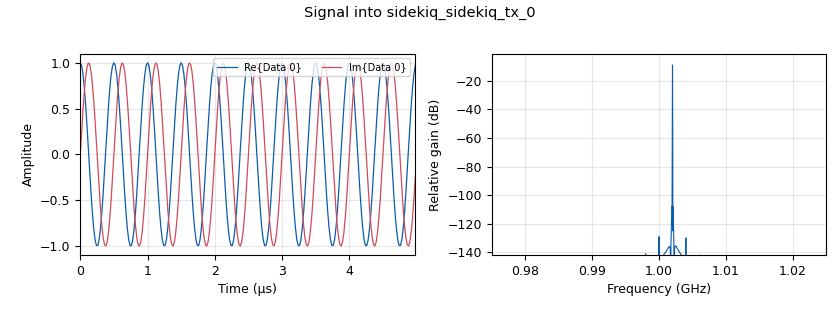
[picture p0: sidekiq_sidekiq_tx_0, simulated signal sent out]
options:
  parameters:
    generate_options: qt_gui
    id: transceive2
    output_language: python
    title: Transceive2
  states: {}

blocks:
- name: card
  id: variable
  parameters:
    value: '3'
  states: {}
- name: frequency
  id: variable
  parameters:
    value: 1000e6
  states: {}
- name: min_output_buffer
  id: variable
  parameters:
    value: 32764 *2*2
  states: {}
- name: sample_rate
  id: variable
  parameters:
    value: 50e6
  states: {}
- name: tone_freq
  id: variable_qtgui_range
  parameters:
    start: 1e6
    step: 1e6
    stop: 25e6
    value: 2e6
  states: {}
- name: analog_sig_source_x_0
  id: analog_sig_source_x
  parameters:
    amp: '1'
    freq: tone_freq
    minoutbuf: min_output_buffer
    offset: '0'
    phase: '0'
    samp_rate: sample_rate
    type: complex
    waveform: analog.GR_COS_WAVE
  states: {}
- name: qtgui_freq_sink_x_0
  id: qtgui_freq_sink_x
  parameters:
    bw: sample_rate
    fc: frequency
    fftsize: '1024'
    type: complex
  states: {}
- name: sidekiq_sidekiq_rx_0
  id: sidekiq_sidekiq_rx
  parameters:
    bandwidth: sample_rate * .8
    cal_mode: '0'
    cal_type: '0'
    card: card
    frequency: frequency
    gain_index: '10'
    gain_mode: '1'
    handle1: '0'
    handle2: '100'
    run_cal: '0'
    sample_rate: sample_rate
  states: {}
- name: sidekiq_sidekiq_tx_0
  id: sidekiq_sidekiq_tx
  parameters:
    attenuation: '100'
    bandwidth: sample_rate * .8
    buffer_size: '16380'
    burst_tag: ''
    cal_mode: '0'
    card: card
    frequency: frequency
    handle: '0'
    run_cal: '0'
    sample_rate: sample_rate
    threads: '4'
  states: {}

connections:
- [analog_sig_source_x_0, '0', sidekiq_sidekiq_tx_0, '0']
- [sidekiq_sidekiq_rx_0, '0', qtgui_freq_sink_x_0, '0']

metadata:
  file_format: 1
  grc_version: v3.11.0.0git-375-ge2af6089
